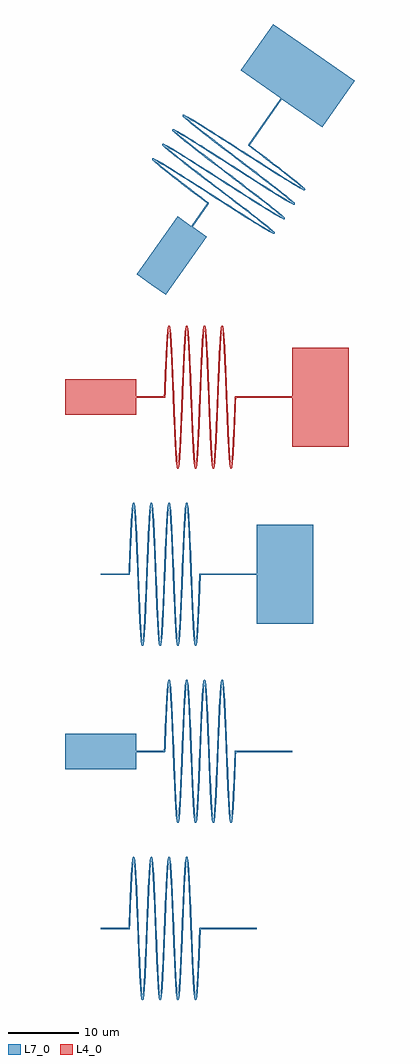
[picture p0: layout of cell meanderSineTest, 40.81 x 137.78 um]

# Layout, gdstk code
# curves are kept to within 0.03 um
import gdstk
lib = gdstk.Library(unit=1e-6, precision=1e-09)
def P(c, l, *ps):  # polygons
    for p in ps: c.add(gdstk.Polygon(p, *l))
L4_0 = (4, 0)
L7_0 = (7, 0)

meandersinetest = lib.new_cell('meanderSineTest')
P(meandersinetest, L4_0, [(-5,-2.5),(-5,0),(9.1,0),(9,-0.1),(5,-0.1),(5,-2.5)],
  [(10.875,-10.1),(10.764,-10.031),(10.703,-9.847),(10.55,-8.451),(10.375,-5.363),(10.15,0),(10.35,0),(10.65,-6.84),(10.775,-8.755),(10.875,-9.677),(10.975,-8.754),(11.1,-6.84),(11.4,0),(11.6,0),(11.375,-5.363),(11.2,-8.45),(11.048,-9.841),(10.986,-10.031)],
  [(13.375,-10.1),(13.264,-10.031),(13.203,-9.847),(13.05,-8.451),(12.875,-5.363),(12.65,0),(12.85,0),(13.15,-6.84),(13.275,-8.755),(13.375,-9.677),(13.475,-8.754),(13.6,-6.84),(13.9,0),(14.1,0),(13.875,-5.363),(13.7,-8.45),(13.548,-9.841),(13.486,-10.031)],
  [(15.875,-10.1),(15.764,-10.031),(15.703,-9.847),(15.55,-8.451),(15.375,-5.363),(15.15,0),(15.35,0),(15.65,-6.84),(15.775,-8.755),(15.875,-9.677),(15.975,-8.754),(16.1,-6.84),(16.4,0),(16.6,0),(16.375,-5.363),(16.2,-8.45),(16.048,-9.841),(15.986,-10.031)],
  [(18.375,-10.1),(18.264,-10.031),(18.203,-9.848),(18.05,-8.451),(17.65,0),(17.85,0),(18.15,-6.84),(18.375,-9.677),(18.6,-6.84),(18.9,0),(35,0),(35,-7),(27,-7),(27,-0.1),(19.096,-0.1),(18.7,-8.45),(18.548,-9.841),(18.486,-10.031)],
  [(-5,0),(-5,2.5),(5,2.5),(5,0.1),(8.904,0.1),(9.15,5.883),(9.325,8.771),(9.478,9.946),(9.593,10.095),(9.736,10.031),(9.874,9.309),(10,7.712),(10.35,0),(10.15,0),(9.85,6.84),(9.625,9.677),(9.4,6.84),(9.1,0)],
  [(11.4,0),(11.625,5.363),(11.8,8.45),(11.952,9.841),(12.021,10.041),(12.141,10.099),(12.242,10.019),(12.323,9.704),(12.475,8.097),(12.625,5.363),(12.85,0),(12.65,0),(12.35,6.84),(12.225,8.755),(12.125,9.677),(12.025,8.754),(11.9,6.84),(11.6,0)],
  [(13.9,0),(14.125,5.363),(14.3,8.45),(14.375,9.308),(14.452,9.841),(14.521,10.041),(14.577,10.088),(14.641,10.099),(14.742,10.019),(14.823,9.704),(14.9,9.058),(15,7.712),(15,3.679),(14.8,7.699),(14.7,9.04),(14.625,9.677),(14.525,8.754),(14.4,6.84),(14.1,0)],
  [(18.9,0),(19,0.1),(27,0.1),(27,7),(35,7),(35,0)],
  [(15.15,0),(15,3.677),(15,7.708),(15.15,4.822),(15.35,0.004)],
  [(16.4,0),(16.625,5.363),(16.8,8.45),(16.952,9.841),(17.021,10.041),(17.141,10.099),(17.242,10.019),(17.323,9.704),(17.475,8.097),(17.625,5.363),(17.85,0),(17.65,0),(17.35,6.84),(17.225,8.755),(17.125,9.677),(17.025,8.754),(16.9,6.84),(16.6,0)])
P(meandersinetest, L7_0, [(4,-25.1),(0,-25.1),(0,-25),(4.1,-25),(4.1,-25.004),(4.097,-25.024),(4.091,-25.042),(4.082,-25.058),(4.069,-25.072),(4.055,-25.084),(4.038,-25.093),(4.02,-25.098)],
  [(5.875,-35.1),(5.764,-35.031),(5.703,-34.847),(5.55,-33.451),(5.375,-30.363),(5.15,-25),(5.35,-25),(5.65,-31.84),(5.775,-33.755),(5.875,-34.677),(5.975,-33.754),(6.1,-31.84),(6.4,-25),(6.6,-25),(6.375,-30.363),(6.2,-33.45),(6.048,-34.841),(5.986,-35.031)],
  [(8.375,-35.1),(8.264,-35.031),(8.203,-34.847),(8.05,-33.451),(7.875,-30.363),(7.65,-25),(7.85,-25),(8.15,-31.84),(8.275,-33.755),(8.375,-34.677),(8.475,-33.754),(8.6,-31.84),(8.9,-25),(9.1,-25),(8.875,-30.363),(8.7,-33.45),(8.548,-34.841),(8.486,-35.031)],
  [(10.875,-35.1),(10.764,-35.031),(10.703,-34.847),(10.55,-33.451),(10.375,-30.363),(10.15,-25),(10.35,-25),(10.65,-31.84),(10.775,-33.755),(10.875,-34.677),(10.975,-33.754),(11.1,-31.84),(11.4,-25),(11.6,-25),(11.375,-30.363),(11.2,-33.45),(11.048,-34.841),(10.986,-35.031)],
  [(13.375,-35.1),(13.264,-35.031),(13.203,-34.847),(13.05,-33.451),(12.875,-30.363),(12.65,-25),(12.85,-25),(13.15,-31.84),(13.275,-33.755),(13.375,-34.677),(13.475,-33.754),(13.6,-31.84),(13.9,-25),(15,-25),(15,-25.1),(14.096,-25.1),(13.875,-30.363),(13.7,-33.45),(13.548,-34.841),(13.486,-35.031)],
  [(22,-32),(22,-25.1),(15,-25.1),(15,-25),(30,-25),(30,-32)],
  [(13.9,-25),(13.9,-24.996),(13.903,-24.976),(13.909,-24.958),(13.918,-24.942),(13.931,-24.928),(13.945,-24.916),(13.962,-24.907),(13.98,-24.902),(14,-24.9),(15,-24.9),(15,-25)],
  [(0,-25),(0,-24.9),(3.904,-24.9),(4.125,-19.637),(4.3,-16.55),(4.375,-15.692),(4.452,-15.159),(4.529,-14.95),(4.593,-14.905),(4.673,-14.912),(4.767,-15.04),(4.823,-15.296),(4.975,-16.903),(5.125,-19.637),(5.35,-25),(5.15,-25),(4.85,-18.16),(4.725,-16.245),(4.625,-15.323),(4.525,-16.246),(4.4,-18.16),(4.1,-25)],
  [(6.4,-25),(6.625,-19.637),(6.8,-16.55),(6.952,-15.159),(7.021,-14.959),(7.141,-14.901),(7.242,-14.981),(7.323,-15.296),(7.475,-16.903),(7.625,-19.637),(7.85,-25),(7.65,-25),(7.35,-18.16),(7.225,-16.245),(7.125,-15.323),(7.025,-16.246),(6.9,-18.16),(6.6,-25)],
  [(8.9,-25),(9.125,-19.637),(9.3,-16.55),(9.452,-15.159),(9.521,-14.959),(9.641,-14.901),(9.742,-14.981),(9.823,-15.296),(9.975,-16.903),(10.125,-19.637),(10.35,-25),(10.15,-25),(9.85,-18.16),(9.725,-16.245),(9.625,-15.323),(9.525,-16.246),(9.4,-18.16),(9.1,-25)],
  [(11.4,-25),(11.625,-19.637),(11.8,-16.55),(11.952,-15.159),(12.021,-14.959),(12.141,-14.901),(12.242,-14.981),(12.323,-15.296),(12.475,-16.903),(12.625,-19.637),(12.85,-25),(12.65,-25),(12.35,-18.16),(12.225,-16.245),(12.125,-15.323),(12.025,-16.246),(11.9,-18.16),(11.6,-25)],
  [(15,-25),(15,-24.9),(22,-24.9),(22,-18),(30,-18),(30,-25)],
  [(-5,-52.5),(-5,-50),(9.1,-50),(9,-50.1),(5,-50.1),(5,-52.5)],
  [(10.875,-60.1),(10.764,-60.031),(10.703,-59.847),(10.55,-58.451),(10.375,-55.363),(10.15,-50),(10.35,-50),(10.6,-55.873),(10.8,-59.04),(10.875,-59.677),(11,-58.439),(11,-60.001),(10.937,-60.079)],
  [(11,-60.001),(11,-58.435),(11.175,-55.354),(11.4,-50),(11.6,-50),(11.275,-57.295),(11.125,-59.308),(11.074,-59.7)],
  [(13.375,-60.1),(13.264,-60.031),(13.203,-59.847),(13.05,-58.451),(12.875,-55.363),(12.65,-50),(12.85,-50),(13.15,-56.84),(13.275,-58.755),(13.375,-59.677),(13.475,-58.754),(13.6,-56.84),(13.9,-50),(14.1,-50),(13.875,-55.363),(13.7,-58.45),(13.548,-59.841),(13.486,-60.031)],
  [(15.875,-60.1),(15.764,-60.031),(15.703,-59.847),(15.55,-58.451),(15.375,-55.363),(15.15,-50),(15.35,-50),(15.65,-56.84),(15.775,-58.755),(15.875,-59.677),(15.975,-58.754),(16.1,-56.84),(16.4,-50),(16.6,-50),(16.375,-55.363),(16.2,-58.45),(16.048,-59.841),(15.986,-60.031)],
  [(18.375,-60.1),(18.264,-60.031),(18.203,-59.848),(18.126,-59.309),(18.05,-58.451),(17.875,-55.363),(17.65,-50),(17.85,-50),(18.15,-56.84),(18.275,-58.755),(18.375,-59.677),(18.475,-58.754),(18.6,-56.84),(18.9,-50),(27,-50),(27,-50.1),(19.096,-50.1),(18.875,-55.363),(18.7,-58.45),(18.625,-59.308),(18.548,-59.841),(18.486,-60.031)],
  [(-5,-50),(-5,-47.5),(5,-47.5),(5,-49.9),(8.904,-49.9),(9.15,-44.117),(9.325,-41.229),(9.478,-40.054),(9.593,-39.905),(9.736,-39.969),(9.874,-40.691),(10,-42.288),(10.35,-50),(10.15,-50),(9.85,-43.16),(9.625,-40.323),(9.4,-43.16),(9.1,-50)],
  [(18.9,-50),(18.9,-49.996),(18.903,-49.976),(18.909,-49.958),(18.918,-49.942),(18.931,-49.928),(18.945,-49.916),(18.962,-49.907),(18.98,-49.902),(19,-49.9),(27,-49.9),(27,-50)],
  [(11.4,-50),(11.625,-44.637),(11.8,-41.55),(11.952,-40.159),(12.021,-39.959),(12.141,-39.901),(12.242,-39.981),(12.323,-40.296),(12.475,-41.903),(12.625,-44.637),(12.85,-50),(12.65,-50),(12.35,-43.16),(12.225,-41.245),(12.125,-40.323),(12.025,-41.246),(11.9,-43.16),(11.6,-50)],
  [(13.9,-50),(14.125,-44.637),(14.3,-41.55),(14.452,-40.159),(14.521,-39.959),(14.641,-39.901),(14.742,-39.981),(14.823,-40.296),(14.975,-41.903),(15.125,-44.637),(15.35,-50),(15.15,-50),(14.85,-43.16),(14.725,-41.245),(14.625,-40.323),(14.525,-41.246),(14.4,-43.16),(14.1,-50)],
  [(16.4,-50),(16.625,-44.637),(16.8,-41.55),(16.952,-40.159),(17.021,-39.959),(17.141,-39.901),(17.242,-39.981),(17.323,-40.296),(17.475,-41.903),(17.625,-44.637),(17.85,-50),(17.65,-50),(17.35,-43.16),(17.225,-41.245),(17.125,-40.323),(17.025,-41.246),(16.9,-43.16),(16.6,-50)],
  [(4,-75.1),(0,-75.1),(0,-75),(4.1,-75),(4.1,-75.004),(4.097,-75.024),(4.091,-75.042),(4.082,-75.058),(4.069,-75.072),(4.055,-75.084),(4.038,-75.093),(4.02,-75.098)],
  [(5.875,-85.1),(5.764,-85.031),(5.703,-84.847),(5.55,-83.451),(5.375,-80.363),(5.15,-75),(5.35,-75),(5.65,-81.84),(5.775,-83.755),(5.875,-84.677),(5.975,-83.754),(6.1,-81.84),(6.4,-75),(6.6,-75),(6.375,-80.363),(6.2,-83.45),(6.048,-84.841),(5.986,-85.031)],
  [(8.375,-85.1),(8.264,-85.031),(8.203,-84.847),(8.05,-83.451),(7.875,-80.363),(7.65,-75),(7.85,-75),(8.15,-81.84),(8.275,-83.755),(8.375,-84.677),(8.475,-83.754),(8.6,-81.84),(8.9,-75),(9.1,-75),(8.875,-80.363),(8.7,-83.45),(8.548,-84.841),(8.486,-85.031)],
  [(10.875,-85.1),(10.764,-85.031),(10.703,-84.847),(10.55,-83.451),(10.375,-80.363),(10.15,-75),(10.35,-75),(10.6,-80.873),(10.8,-84.04),(10.875,-84.677),(11,-83.439),(11,-85.001),(10.937,-85.079)],
  [(11,-85.001),(11,-83.435),(11.175,-80.354),(11.4,-75),(11.6,-75),(11.275,-82.295),(11.125,-84.308),(11.074,-84.7)],
  [(13.375,-85.1),(13.264,-85.031),(13.203,-84.847),(13.126,-84.309),(13.05,-83.451),(12.875,-80.363),(12.65,-75),(12.85,-75),(13.15,-81.84),(13.275,-83.755),(13.375,-84.677),(13.475,-83.754),(13.6,-81.84),(13.9,-75),(22,-75),(22,-75.1),(14.096,-75.1),(13.875,-80.363),(13.7,-83.45),(13.625,-84.308),(13.548,-84.841),(13.486,-85.031)],
  [(0,-75),(0,-74.9),(3.904,-74.9),(4.125,-69.637),(4.3,-66.55),(4.375,-65.692),(4.452,-65.159),(4.529,-64.95),(4.593,-64.905),(4.673,-64.912),(4.767,-65.04),(4.823,-65.296),(4.975,-66.903),(5.125,-69.637),(5.35,-75),(5.15,-75),(4.85,-68.16),(4.725,-66.245),(4.625,-65.323),(4.525,-66.246),(4.4,-68.16),(4.1,-75)],
  [(6.4,-75),(6.625,-69.637),(6.8,-66.55),(6.952,-65.159),(7.021,-64.959),(7.141,-64.901),(7.242,-64.981),(7.323,-65.296),(7.475,-66.903),(7.625,-69.637),(7.85,-75),(7.65,-75),(7.35,-68.16),(7.225,-66.245),(7.125,-65.323),(7.025,-66.246),(6.9,-68.16),(6.6,-75)],
  [(8.9,-75),(9.125,-69.637),(9.3,-66.55),(9.452,-65.159),(9.521,-64.959),(9.641,-64.901),(9.742,-64.981),(9.823,-65.296),(9.975,-66.903),(10.125,-69.637),(10.35,-75),(10.15,-75),(9.85,-68.16),(9.725,-66.245),(9.625,-65.323),(9.525,-66.246),(9.4,-68.16),(9.1,-75)],
  [(13.9,-75),(13.9,-74.996),(13.903,-74.976),(13.909,-74.958),(13.918,-74.942),(13.931,-74.928),(13.945,-74.916),(13.962,-74.907),(13.98,-74.902),(14,-74.9),(22,-74.9),(22,-75)],
  [(11.4,-75),(11.625,-69.637),(11.8,-66.55),(11.952,-65.159),(12.021,-64.959),(12.141,-64.901),(12.242,-64.981),(12.323,-65.296),(12.475,-66.903),(12.625,-69.637),(12.85,-75),(12.65,-75),(12.35,-68.16),(12.225,-66.245),(12.125,-65.323),(12.025,-66.246),(11.9,-68.16),(11.6,-75)],
  [(9.18,14.47),(7.132,15.904),(15.22,27.454),(15.244,27.315),(12.95,24.038),(14.916,22.662)],
  [(24.399,23.063),(24.206,23.119),(23.72,23.364),(22.34,24.178),(15.822,28.314),(15.937,28.478),(21.712,24.8),(23.352,23.804),(24.165,23.358),(23.219,24.173),(21.97,25.17),(16.539,29.338),(16.654,29.502),(21.329,25.923),(23.594,24.123),(24.166,23.63),(24.469,23.324),(24.523,23.235),(24.525,23.145),(24.488,23.092)],
  [(25.833,25.111),(25.64,25.167),(25.154,25.412),(23.774,26.226),(17.256,30.362),(17.371,30.526),(23.146,26.848),(24.786,25.852),(25.599,25.406),(24.9,26.017),(23.404,27.217),(17.973,31.386),(18.087,31.55),(22.763,27.971),(25.028,26.171),(25.6,25.678),(25.903,25.372),(25.957,25.283),(25.959,25.193),(25.922,25.14)],
  [(27.267,27.159),(27.073,27.215),(26.588,27.46),(25.208,28.274),(18.69,32.41),(18.804,32.574),(24.58,28.896),(26.22,27.9),(27.032,27.453),(26.334,28.065),(24.838,29.265),(19.407,33.434),(19.521,33.598),(24.197,30.019),(26.462,28.219),(27.034,27.726),(27.337,27.42),(27.391,27.33),(27.393,27.24),(27.356,27.188)],
  [(28.7,29.207),(28.022,29.508),(26.641,30.322),(20.124,34.458),(20.238,34.622),(26.014,30.944),(28.466,29.501),(26.271,31.313),(20.841,35.482),(30.075,48.67),(35.809,44.655),(31.221,38.102),(25.568,42.06),(21.035,35.585),(25.631,32.067),(27.896,30.267),(28.771,29.468),(28.827,29.288)],
  [(7.132,15.904),(5.084,17.338),(10.82,25.53),(12.786,24.153),(15.025,27.351),(10.43,30.869),(8.164,32.67),(7.289,33.469),(7.233,33.648),(7.36,33.729),(8.038,33.428),(9.419,32.615),(15.937,28.478),(15.822,28.314),(10.047,31.992),(7.594,33.435),(9.789,31.623),(15.22,27.454)],
  [(16.539,29.338),(11.863,32.917),(9.846,34.513),(8.794,35.435),(8.674,35.594),(8.681,35.725),(8.794,35.777),(8.987,35.721),(10.218,35.046),(12.848,33.418),(17.371,30.526),(17.256,30.362),(11.481,34.04),(10.116,34.874),(9.028,35.483),(9.973,34.668),(11.594,33.38),(16.654,29.502)],
  [(17.973,31.386),(13.297,34.965),(11.28,36.561),(10.621,37.114),(10.228,37.483),(10.108,37.642),(10.115,37.773),(10.168,37.812),(10.248,37.823),(10.553,37.708),(11.126,37.401),(12.287,36.71),(15.59,34.398),(12.182,36.54),(11.027,37.227),(10.462,37.531),(11.16,36.919),(12.657,35.719),(18.087,31.55)],
  [(18.69,32.41),(15.592,34.396),(12.29,36.708),(14.74,35.176),(18.804,32.574)],
  [(19.407,33.434),(14.731,37.013),(12.714,38.609),(11.662,39.53),(11.542,39.69),(11.549,39.821),(11.661,39.873),(11.854,39.817),(13.086,39.141),(15.716,37.514),(20.238,34.622),(20.124,34.458),(14.348,38.136),(12.708,39.132),(11.896,39.579),(12.594,38.967),(14.091,37.767),(19.521,33.598)],
  [(20.841,35.482),(20.816,35.621),(25.405,42.174),(19.752,46.132),(24.341,52.685),(30.075,48.67)])

lib.write_gds('meanderSineTest.gds')
